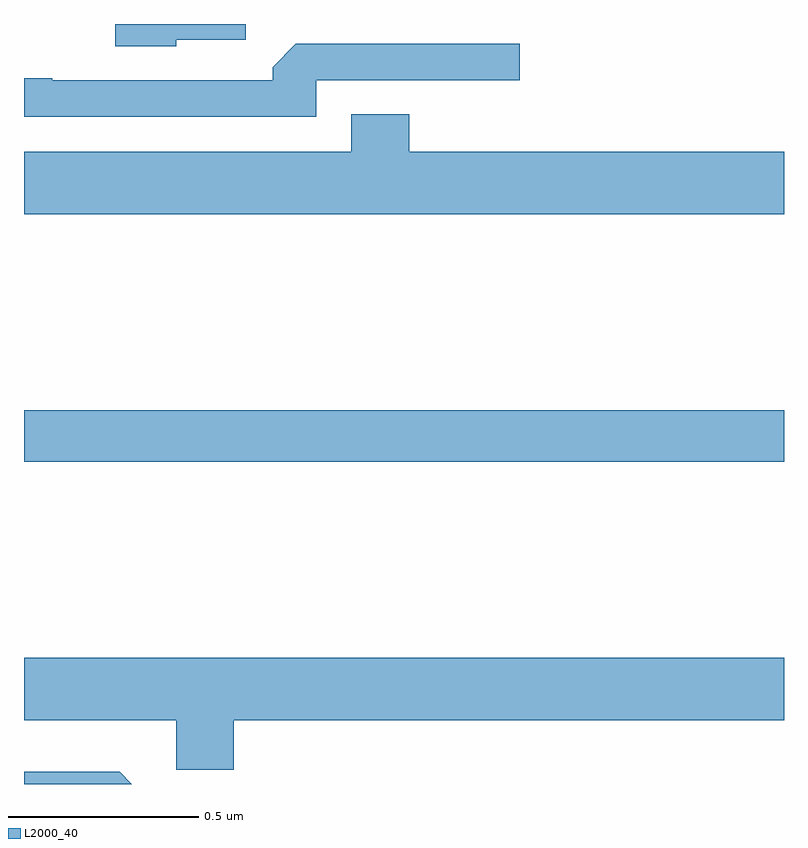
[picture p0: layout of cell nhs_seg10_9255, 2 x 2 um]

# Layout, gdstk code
import gdstk
lib = gdstk.Library(unit=1e-6, precision=1e-09)
def R(c, l, rs):  # rectangles x0, y0, x1, y1
    for r in rs: c.add(gdstk.rectangle(r[:2], r[2:], *l))
def P(c, l, *ps):  # polygons
    for p in ps: c.add(gdstk.Polygon(p, *l))
L2000_40 = (2000, 40)

nhs_seg10_9255 = lib.new_cell('nhs_seg10_9255')
R(nhs_seg10_9255, L2000_40, [(227,1282.348,229,1282.484)])
P(nhs_seg10_9255, L2000_40, [(227.4,1283.459),(227.584,1283.459),(227.584,1283.5),(227.24,1283.5),(227.24,1283.441),(227.4,1283.441)],
  [(227.769,1283.352),(228.304,1283.352),(228.304,1283.448),(227.715,1283.448),(227.654,1283.386),(227.654,1283.352),(227.074,1283.352),(227.074,1283.357),(227,1283.357),(227,1283.256),(227.769,1283.256)],
  [(229,1283.164),(228.014,1283.164),(228.014,1283.263),(227.861,1283.263),(227.861,1283.164),(227,1283.164),(227,1283),(229,1283)],
  [(227.552,1281.668),(229,1281.668),(229,1281.832),(227,1281.832),(227,1281.668),(227.4,1281.668),(227.4,1281.537),(227.552,1281.537)],
  [(227.252,1281.532),(227,1281.532),(227,1281.5),(227.284,1281.5)])

lib.write_gds('nhs_seg10_9255.gds')
